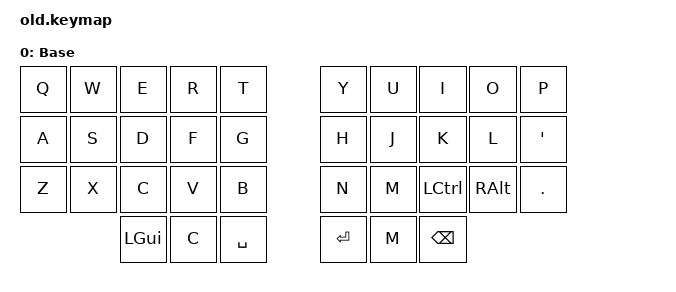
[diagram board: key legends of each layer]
/*
 * Copyright (c) 2020 The ZMK Contributors
 *
 * SPDX-License-Identifier: MIT
 */

#include <behaviors.dtsi>
#include <dt-bindings/zmk/keys.h>
#include <dt-bindings/zmk/bt.h>

/ {
    chosen {
      zmk,matrix_transform = &default_transform;
    };

        keymap {
                compatible = "zmk,keymap";

                default_layer {
// -----------------------------------------------------------------------------------------
// |  Q  |  W  |  E  |  R  |  T  |     |  Y  |  U   |  I   |  O   | P |
// |  A  |  S  |  D  |  F  |  G  |     |  H  |  J   |  K   |  L   | ' | 
// |  Z  |  X  |  C  |  V  |  B  |     |  N  |  M   | CTRL | META | . |
//             | GUI | LWR | SPC |     | ENT | RSE  | BSPC |
                        display-name = "Base";
                        bindings = <
   &kp Q &kp W &kp E &kp R &kp T     &kp Y   &kp U  &kp I     &kp O     &kp P
   &kp A &kp S &kp D &kp F &kp G     &kp H   &kp J  &kp K     &kp L     &kp SQT
   &kp Z &kp X &kp C &kp V &kp B     &kp N   &kp M  &kp LCTL  &kp RALT  &kp DOT
        &kp LGUI &kp C &kp SPACE     &kp RET &kp M  &kp BSPC
                        >;
                };

        };
};
